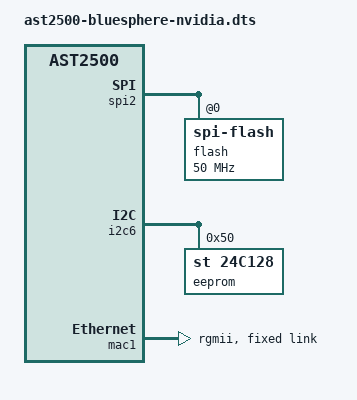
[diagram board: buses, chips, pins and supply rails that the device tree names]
// SPDX-License-Identifier: GPL-2.0
/*
 * Device Tree Source extras for U-Boot for the BlueSphere
 * Copyright (C) Nvidia
 */
#include "ast2500-evb.dts"
/ {
	aliases {
		spi2 = &spi2;

	};
	config {
		bootdelay = <(-2)>;
		bootsecure = <1>;
		bootcmd = "boot";
	};
};

&spi2 {
	status = "okay";
	flash@0 {
		pinctrl-names = "default";
		pinctrl-0 = <&pinctrl_spi2cs0_default>;
		compatible = "spi-flash", "sst,w25q256";
		status = "okay";
		spi-max-frequency = <50000000>;
		spi-tx-bus-width = <2>;
		spi-rx-bus-width = <2>;
	};
};

&i2c6 {
	status = "okay";
	eeprom@50 {
		compatible = "st,24c128", "atmel,24c128";
		reg = <0x50>;
		pagesize = <64>;
		offset_len = <2>;
		eth2macoffset = <0xff 0x79 0xff 0xff 0xff 0xff>;
	};
};

&mac0 {
	status = "disabled";
};

&mac1 {
	status = "okay";
	phy-mode = "rgmii";
	pinctrl-names = "default";
	pinctrl-0 = <&pinctrl_mac2link_default &pinctrl_mdio2_default>;
	fixed-link {
		speed = <1000>;
		full-duplex;
	};
};
